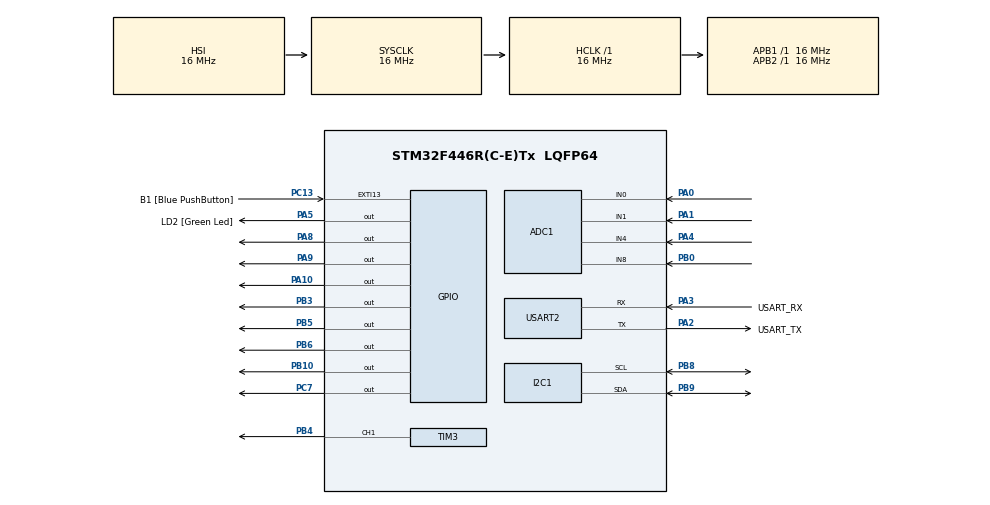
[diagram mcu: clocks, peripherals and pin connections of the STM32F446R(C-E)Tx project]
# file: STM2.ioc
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ADC1.Channel-0\#ChannelRegularConversion=ADC_CHANNEL_0
ADC1.Channel-1\#ChannelInjectedConversion=ADC_CHANNEL_0
ADC1.ClockPrescaler=ADC_CLOCK_SYNC_PCLK_DIV4
ADC1.InjNumberOfConversion=1
ADC1.InjectedOffset-1\#ChannelInjectedConversion=0
ADC1.InjectedRank-1\#ChannelInjectedConversion=1
ADC1.NbrOfConversionFlag=1
ADC1.Rank-0\#ChannelRegularConversion=1
ADC1.SamplingTime-0\#ChannelRegularConversion=ADC_SAMPLETIME_480CYCLES
ADC1.SamplingTime-1\#ChannelInjectedConversion=ADC_SAMPLETIME_3CYCLES
ADC1.master=1
Dma.Request0=TIM3_CH1/TRIG
Dma.TIM3_CH1/TRIG.0.Direction=DMA_MEMORY_TO_PERIPH
Dma.TIM3_CH1/TRIG.0.FIFOMode=DMA_FIFOMODE_DISABLE
Dma.TIM3_CH1/TRIG.0.Instance=DMA1_Stream4
Dma.TIM3_CH1/TRIG.0.MemDataAlignment=DMA_MDATAALIGN_HALFWORD
Dma.TIM3_CH1/TRIG.0.MemInc=DMA_MINC_ENABLE
Dma.TIM3_CH1/TRIG.0.Mode=DMA_NORMAL
Dma.TIM3_CH1/TRIG.0.PeriphDataAlignment=DMA_PDATAALIGN_HALFWORD
Dma.TIM3_CH1/TRIG.0.PeriphInc=DMA_PINC_DISABLE
Dma.TIM3_CH1/TRIG.0.Priority=DMA_PRIORITY_HIGH
I2C1.OwnAddress=17
Mcu.Family=STM32F4
Mcu.Name=STM32F446R(C-E)Tx
Mcu.Package=LQFP64
NVIC.DMA1_Stream4_IRQn=true\:0\:0\:false\:false\:true\:false\:true\:true
NVIC.I2C1_ER_IRQn=true\:0\:0\:false\:false\:true\:true\:true\:true
NVIC.I2C1_EV_IRQn=true\:0\:0\:false\:false\:true\:true\:true\:true
NVIC.PriorityGroup=NVIC_PRIORITYGROUP_0
PA0-WKUP.Signal=ADCx_IN0
PA1.Signal=ADCx_IN1
PA10.Signal=GPIO_Output
PA13.GPIO_Label=TMS
PA13.Mode=Serial_Wire
PA13.Signal=SYS_JTMS-SWDIO
PA14.GPIO_Label=TCK
PA14.Mode=Serial_Wire
PA14.Signal=SYS_JTCK-SWCLK
PA2.GPIO_Label=USART_TX
PA2.Mode=Asynchronous
PA2.Signal=USART2_TX
PA3.GPIO_Label=USART_RX
PA3.Mode=Asynchronous
PA3.Signal=USART2_RX
PA4.Signal=ADCx_IN4
PA5.GPIO_Label=LD2 [Green Led]
PA5.Signal=GPIO_Output
PA8.Signal=GPIO_Output
PA9.Signal=GPIO_Output
PB0.Signal=ADCx_IN8
PB10.Signal=GPIO_Output
PB3.Signal=GPIO_Output
PB4.GPIO_Speed=GPIO_SPEED_FREQ_VERY_HIGH
PB4.Signal=S_TIM3_CH1
PB5.Signal=GPIO_Output
PB6.Signal=GPIO_Output
PB8.GPIO_Pu=GPIO_PULLUP
PB8.Mode=I2C
PB8.Signal=I2C1_SCL
PB9.GPIO_Pu=GPIO_PULLUP
PB9.Mode=I2C
PB9.Signal=I2C1_SDA
PC13.GPIO_Label=B1 [Blue PushButton]
PC13.GPIO_ModeDefaultEXTI=GPIO_MODE_IT_FALLING
PC13.Signal=GPXTI13
PC14-OSC32_IN.Signal=RCC_OSC32_IN
PC15-OSC32_OUT.Signal=RCC_OSC32_OUT
PC7.Signal=GPIO_Output
PH0-OSC_IN.Signal=RCC_OSC_IN
PH1-OSC_OUT.Signal=RCC_OSC_OUT
ProjectManager.HeapSize=0x200
ProjectManager.StackSize=0x400
ProjectManager.TargetToolchain=STM32CubeIDE
RCC.AHBFreq_Value=16000000
RCC.APB1Freq_Value=16000000
RCC.APB1TimFreq_Value=16000000
RCC.APB2Freq_Value=16000000
RCC.APB2TimFreq_Value=16000000
RCC.CortexFreq_Value=16000000
RCC.FLatency-AdvancedSettings=FLASH_LATENCY_0
RCC.HCLKFreq_Value=16000000
RCC.HSE_VALUE=8000000
RCC.HSI_VALUE=16000000
RCC.LSE_VALUE=32768
RCC.PLLN=336
RCC.PLLP=RCC_PLLP_DIV4
RCC.SYSCLKFreq_VALUE=16000000
RCC.USBFreq_Value=168000000
RCC.VCOOutputFreq_Value=336000000
SH.ADCx_IN0.0=ADC1_IN0,IN0
SH.ADCx_IN1.0=ADC1_IN1,IN1
SH.ADCx_IN4.0=ADC1_IN4,IN4
SH.ADCx_IN8.0=ADC1_IN8,IN8
SH.S_TIM3_CH1.0=TIM3_CH1,PWM Generation1 CH1
TIM3.Channel-PWM\ Generation1\ CH1=TIM_CHANNEL_1
TIM3.Period=19
USART2.VirtualMode=VM_ASYNC
VP_TIM3_VS_ClockSourceINT.Mode=Internal
board=NUCLEO-F446RE

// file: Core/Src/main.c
/* USER CODE BEGIN Header */
/**
  ******************************************************************************
  * @file           : main.c
  * @brief          : STM2 - LDR (P5-P8) + NeoPixels + I2C + Display 7 Segmentos
  ******************************************************************************
  */
/* USER CODE END Header */
#include "main.h"

/* USER CODE BEGIN Includes */
#include <stdio.h>
#include <string.h>
/* USER CODE END Includes */

/* USER CODE BEGIN PD */
#define NUM_LDR                  4U
#define PRIMER_PARQUEO           5U
#define MUESTRAS_ADC             16U
#define MUESTRAS_CALIBRACION      32U
#define ESPERA_CALIBRACION_MS     3000U
#define PERIODO_REPORTE_MS        300U

#define PORCENTAJE_OCUPADO        60U
#define PORCENTAJE_LIBRE          80U

/* Mapeo de pines para los segmentos del display */
#define SEG_A_PORT   GPIOA
#define SEG_A_PIN    GPIO_PIN_10   /* D2 -> Patita 7 del display */

#define SEG_B_PORT   GPIOB
#define SEG_B_PIN    GPIO_PIN_3    /* D3 -> Patita 6 del display */

#define SEG_C_PORT   GPIOB
#define SEG_C_PIN    GPIO_PIN_5    /* D4 -> Patita 4 del display */

#define SEG_D_PORT   GPIOB
#define SEG_D_PIN    GPIO_PIN_10   /* D6 -> Patita 2 del display */

#define SEG_E_PORT   GPIOA
#define SEG_E_PIN    GPIO_PIN_8    /* D7 -> Patita 1 del display */

#define SEG_F_PORT   GPIOA
#define SEG_F_PIN    GPIO_PIN_9    /* D8 -> Patita 9 del display */

#define SEG_G_PORT   GPIOC
#define SEG_G_PIN    GPIO_PIN_7    /* D9 -> Patita 10 del display */

#define SEG_DP_PORT  GPIOB
#define SEG_DP_PIN   GPIO_PIN_6    /* D10 -> Patita 5 del display (opcional) */
/* USER CODE END PD */

ADC_HandleTypeDef hadc1;
I2C_HandleTypeDef hi2c1;
TIM_HandleTypeDef htim3;
DMA_HandleTypeDef hdma_tim3_ch1_trig;
UART_HandleTypeDef huart2;

/* USER CODE BEGIN PV */
static const uint32_t canales[NUM_LDR] = {
    ADC_CHANNEL_0,
    ADC_CHANNEL_1,
    ADC_CHANNEL_4,
    ADC_CHANNEL_8
};

static uint16_t lectura[NUM_LDR] = {0};
static uint16_t referencia[NUM_LDR] = {0};
static uint16_t umbral_ocupado[NUM_LDR] = {0};
static uint16_t umbral_libre[NUM_LDR] = {0};
static uint8_t ocupado[NUM_LDR] = {0};
static uint8_t calibrado = 0U;

static uint8_t estado_local = 0U;
static char mensaje[192];

/* NeoPixels WS2812B */
static uint16_t pwm_buffer[736] __attribute__((aligned(4)));
static volatile uint8_t dma_terminado = 0U;
static volatile uint8_t dma_error = 0U;
static uint8_t neo_habilitado = 0U;
static uint8_t lectura_valida[NUM_LDR] = {0};

/* I2C esclavo */
static volatile uint8_t i2c_local = 0xFFU;
static uint8_t i2c_tx = 0U;
static uint8_t i2c_rx = 0U;
static volatile uint8_t global_recibido = 0U;
static volatile uint8_t global_disponible = 0U;
static volatile uint32_t global_tick = 0U;
static volatile uint32_t i2c_lecturas = 0U;
static volatile uint32_t i2c_escrituras = 0U;
static volatile uint32_t i2c_errores = 0U;
static volatile uint32_t i2c_ultimo_error = 0U;
static volatile uint8_t i2c_recuperar = 0U;
static uint32_t i2c_ultimo_reintento = 0U;

static uint8_t espacios_libres_global = 0U;
static uint8_t global_vigente = 0U;

/* Matriz de verdad para catodo comun (1 = segmento encendido)
 * Columnas: { a, b, c, d, e, f, g }
 */
static const uint8_t digitos_7seg[10][7] = {
    {1, 1, 1, 1, 1, 1, 0}, /* 0 */
    {0, 1, 1, 0, 0, 0, 0}, /* 1 */
    {1, 1, 0, 1, 1, 0, 1}, /* 2 */
    {1, 1, 1, 1, 0, 0, 1}, /* 3 */
    {0, 1, 1, 0, 0, 1, 1}, /* 4 */
    {1, 0, 1, 1, 0, 1, 1}, /* 5 */
    {1, 0, 1, 1, 1, 1, 1}, /* 6 */
    {1, 1, 1, 0, 0, 0, 0}, /* 7 */
    {1, 1, 1, 1, 1, 1, 1}, /* 8 */
    {1, 1, 1, 1, 0, 1, 1}  /* 9 */
};
/* USER CODE END PV */

void SystemClock_Config(void);
static void MX_GPIO_Init(void);
static void MX_DMA_Init(void);
static void MX_ADC1_Init(void);
static void MX_USART2_UART_Init(void);
static void MX_TIM3_Init(void);
static void MX_I2C1_Init(void);
/* USER CODE BEGIN PFP */
static void Serial_Enviar(const char *texto);
static HAL_StatusTypeDef LDR_Leer(uint32_t canal, uint16_t *valor);
static HAL_StatusTypeDef LDR_Calibrar(void);
static void LDR_ActualizarEstados(void);
static void Display_Mostrar(uint8_t valor);
static void Display_TestInicial(void);
/* USER CODE END PFP */

/* USER CODE BEGIN 0 */
static void Serial_Enviar(const char *texto)
{
    HAL_UART_Transmit(&huart2, (uint8_t *)texto, (uint16_t)strlen(texto), 200U);
}

static HAL_StatusTypeDef LDR_Leer(uint32_t canal, uint16_t *valor)
{
    ADC_ChannelConfTypeDef config = {0};
    uint32_t suma = 0U;
    config.Channel = canal;
    config.Rank = 1;
    config.SamplingTime = ADC_SAMPLETIME_480CYCLES;

    if (HAL_ADC_ConfigChannel(&hadc1, &config) != HAL_OK)
    {
        return HAL_ERROR;
    }

    for (uint32_t n = 0U; n <= MUESTRAS_ADC; n++)
    {
        if (HAL_ADC_Start(&hadc1) != HAL_OK)
        {
            HAL_ADC_Stop(&hadc1);
            return HAL_ERROR;
        }
        if (HAL_ADC_PollForConversion(&hadc1, 20U) != HAL_OK)
        {
            HAL_ADC_Stop(&hadc1);
            return HAL_ERROR;
        }
        uint32_t muestra = HAL_ADC_GetValue(&hadc1);
        if (HAL_ADC_Stop(&hadc1) != HAL_OK)
        {
            return HAL_ERROR;
        }
        if (n > 0U)
        {
            suma += muestra;
        }
    }
    *valor = (uint16_t)(suma / MUESTRAS_ADC);
    return HAL_OK;
}

static HAL_StatusTypeDef LDR_Calibrar(void)
{
    uint32_t suma[NUM_LDR] = {0};
    uint16_t muestra = 0U;
    uint8_t referencia_invalida = 0U;

    Serial_Enviar("\r\nCALIBRACION STM2\r\n"
                  "Deja descubiertos los LDR de P5, P6, P7 y P8.\r\n"
                  "La medicion comienza en 3 segundos.\r\n");
    HAL_Delay(ESPERA_CALIBRACION_MS);
    Serial_Enviar("Midiendo... manten descubiertos los LDR.\r\n");

    for (uint32_t n = 0U; n < MUESTRAS_CALIBRACION; n++)
    {
        for (uint8_t i = 0U; i < NUM_LDR; i++)
        {
            if (LDR_Leer(canales[i], &muestra) != HAL_OK)
            {
                Serial_Enviar("ERROR: fallo del ADC al calibrar.\r\n");
                return HAL_ERROR;
            }
            suma[i] += muestra;
        }
        HAL_Delay(10U);
    }

    for (uint8_t i = 0U; i < NUM_LDR; i++)
    {
        referencia[i] = (uint16_t)(suma[i] / MUESTRAS_CALIBRACION);
        umbral_ocupado[i] = (uint16_t)(((uint32_t)referencia[i] * PORCENTAJE_OCUPADO) / 100U);
        umbral_libre[i] = (uint16_t)(((uint32_t)referencia[i] * PORCENTAJE_LIBRE) / 100U);
        ocupado[i] = 0U;

        snprintf(mensaje, sizeof(mensaje),
                 "P%u | Referencia=%u | Ocupado<=%u | Libre>=%u\r\n",
                 (unsigned int)(PRIMER_PARQUEO + i),
                 (unsigned int)referencia[i],
                 (unsigned int)umbral_ocupado[i],
                 (unsigned int)umbral_libre[i]);
        Serial_Enviar(mensaje);

        if ((umbral_ocupado[i] == 0U) || (umbral_libre[i] <= umbral_ocupado[i]))
        {
            referencia_invalida = 1U;
        }
    }

    if (referencia_invalida)
    {
        Serial_Enviar("\r\nReferencia insuficiente. Revisa luz y reinicia.\r\n");
        return HAL_ERROR;
    }

    estado_local = 0U;
    Serial_Enviar("\r\nCalibracion terminada correctamente.\r\n\r\n");
    return HAL_OK;
}

static void LDR_ActualizarEstados(void)
{
    estado_local = 0U;
    for (uint8_t i = 0U; i < NUM_LDR; i++)
    {
        if (lectura_valida[i] && lectura[i] <= umbral_ocupado[i])
        {
            ocupado[i] = 1U;
        }
        else if (lectura_valida[i] && lectura[i] >= umbral_libre[i])
        {
            ocupado[i] = 0U;
        }
        estado_local |= (uint8_t)(ocupado[i] << (3U - i));
    }
}

static void NeoPixel_Preparar(uint8_t mode)
{
    memset(pwm_buffer, 0, sizeof(pwm_buffer));
    uint32_t posicion = 320U;
    for (uint8_t i = 0U; i < NUM_LDR; i++)
    {
        uint32_t grb = 0U;
        if ((mode == 2U) || ((mode == 1U) && !lectura_valida[i]))
        {
            grb = 32U;
        }
        else if (mode == 1U)
        {
            grb = ocupado[i] ? (32UL << 8) : (32UL << 16);
        }

        for (int32_t bit = 23; bit >= 0; bit--)
        {
            pwm_buffer[posicion++] = (grb & (1UL << bit)) ? 13U : 6U;
        }
    }
}

static void NeoPixel_Pin(uint8_t pwm)
{
    GPIO_InitTypeDef gpio = {0};
    __HAL_RCC_GPIOB_CLK_ENABLE();
    HAL_GPIO_WritePin(GPIOB, GPIO_PIN_4, GPIO_PIN_RESET);
    gpio.Pin = GPIO_PIN_4;
    gpio.Mode = pwm ? GPIO_MODE_AF_PP : GPIO_MODE_OUTPUT_PP;
    gpio.Pull = GPIO_NOPULL;
    gpio.Speed = GPIO_SPEED_FREQ_HIGH;
    gpio.Alternate = GPIO_AF2_TIM3;
    HAL_GPIO_Init(GPIOB, &gpio);
}

static uint8_t NeoPixel_VerificarDMA(void)
{
    DMA_HandleTypeDef *dma = htim3.hdma[TIM_DMA_ID_CC1];
    if ((dma == NULL) || (dma->Instance != DMA1_Stream4)) return 0U;
    return (dma->Init.Channel == DMA_CHANNEL_5) &&
           (dma->Init.Direction == DMA_MEMORY_TO_PERIPH) &&
           (dma->Init.PeriphInc == DMA_PINC_DISABLE) &&
           (dma->Init.MemInc == DMA_MINC_ENABLE) &&
           (dma->Init.PeriphDataAlignment == DMA_PDATAALIGN_HALFWORD) &&
           (dma->Init.MemDataAlignment == DMA_MDATAALIGN_HALFWORD) &&
           (dma->Init.Mode == DMA_NORMAL);
}

static HAL_StatusTypeDef NeoPixel_Enviar(uint8_t mode)
{
    if (!neo_habilitado) return HAL_ERROR;
    NeoPixel_Preparar(mode);
    dma_terminado = 0U;
    dma_error = 0U;
    __HAL_TIM_SET_COMPARE(&htim3, TIM_CHANNEL_1, 0U);
    __HAL_TIM_SET_COUNTER(&htim3, 0U);
    htim3.Instance->EGR = TIM_EGR_UG;
    __HAL_TIM_CLEAR_FLAG(&htim3, TIM_FLAG_UPDATE | TIM_FLAG_CC1);
    NeoPixel_Pin(1U);
    HAL_StatusTypeDef resultado = HAL_TIM_PWM_Start_DMA(
        &htim3, TIM_CHANNEL_1, (uint32_t *)pwm_buffer, 736U);
    if (resultado == HAL_OK)
    {
        uint32_t inicio = HAL_GetTick();
        while (!dma_terminado && !dma_error)
        {
            if ((HAL_GetTick() - inicio) >= 100U)
            {
                resultado = HAL_TIMEOUT;
                break;
            }
        }
        if (dma_error) resultado = HAL_ERROR;
    }
    HAL_TIM_PWM_Stop_DMA(&htim3, TIM_CHANNEL_1);
    NeoPixel_Pin(0U);
    HAL_Delay(1U);
    if (resultado != HAL_OK)
    {
        neo_habilitado = 0U;
        Serial_Enviar("ERROR NeoPixel/DMA: envio suspendido hasta RESET.\r\n");
    }
    return resultado;
}

static void I2C_Prioridades(void)
{
    HAL_NVIC_SetPriorityGrouping(NVIC_PRIORITYGROUP_4);
    HAL_NVIC_SetPriority(I2C1_EV_IRQn, 0U, 0U);
    HAL_NVIC_SetPriority(I2C1_ER_IRQn, 0U, 0U);
    HAL_NVIC_SetPriority(DMA1_Stream4_IRQn, 1U, 0U);
    HAL_NVIC_SetPriority(SysTick_IRQn, 15U, 0U);
    HAL_NVIC_EnableIRQ(I2C1_EV_IRQn);
    HAL_NVIC_EnableIRQ(I2C1_ER_IRQn);
}

static void I2C_Escuchar(void)
{
    if (HAL_I2C_EnableListen_IT(&hi2c1) != HAL_OK)
    {
        i2c_recuperar = 1U;
    }
}

static void I2C_Servicio(void)
{
    if (!i2c_recuperar) return;
    uint32_t ahora = HAL_GetTick();
    if ((ahora - i2c_ultimo_reintento) < 250U) return;
    i2c_ultimo_reintento = ahora;
    HAL_NVIC_DisableIRQ(I2C1_EV_IRQn);
    HAL_NVIC_DisableIRQ(I2C1_ER_IRQn);
    i2c_recuperar = 0U;
    HAL_StatusTypeDef resultado = HAL_I2C_DeInit(&hi2c1);
    if (resultado == HAL_OK) resultado = HAL_I2C_Init(&hi2c1);
    HAL_NVIC_ClearPendingIRQ(I2C1_EV_IRQn);
    HAL_NVIC_ClearPendingIRQ(I2C1_ER_IRQn);
    I2C_Prioridades();
    if (resultado == HAL_OK) I2C_Escuchar();
    else i2c_recuperar = 1U;
}

static uint8_t ContarLibres(uint8_t dato)
{
    uint8_t libres = 8U;
    for (uint8_t i = 0U; i < 8U; i++)
    {
        libres -= (dato >> i) & 1U;
    }
    return libres;
}

/* Control del display de 7 segmentos */
static void Display_Mostrar(uint8_t valor)
{
    if (valor <= 8U)
    {
        HAL_GPIO_WritePin(SEG_A_PORT, SEG_A_PIN, digitos_7seg[valor][0] ? GPIO_PIN_SET : GPIO_PIN_RESET);
        HAL_GPIO_WritePin(SEG_B_PORT, SEG_B_PIN, digitos_7seg[valor][1] ? GPIO_PIN_SET : GPIO_PIN_RESET);
        HAL_GPIO_WritePin(SEG_C_PORT, SEG_C_PIN, digitos_7seg[valor][2] ? GPIO_PIN_SET : GPIO_PIN_RESET);
        HAL_GPIO_WritePin(SEG_D_PORT, SEG_D_PIN, digitos_7seg[valor][3] ? GPIO_PIN_SET : GPIO_PIN_RESET);
        HAL_GPIO_WritePin(SEG_E_PORT, SEG_E_PIN, digitos_7seg[valor][4] ? GPIO_PIN_SET : GPIO_PIN_RESET);
        HAL_GPIO_WritePin(SEG_F_PORT, SEG_F_PIN, digitos_7seg[valor][5] ? GPIO_PIN_SET : GPIO_PIN_RESET);
        HAL_GPIO_WritePin(SEG_G_PORT, SEG_G_PIN, digitos_7seg[valor][6] ? GPIO_PIN_SET : GPIO_PIN_RESET);
        HAL_GPIO_WritePin(SEG_DP_PORT, SEG_DP_PIN, GPIO_PIN_RESET);
    }
    else
    {
        /* Muestra un guion central (-) cuando no hay dato valido o vigente */
        HAL_GPIO_WritePin(SEG_A_PORT, SEG_A_PIN, GPIO_PIN_RESET);
        HAL_GPIO_WritePin(SEG_B_PORT, SEG_B_PIN, GPIO_PIN_RESET);
        HAL_GPIO_WritePin(SEG_C_PORT, SEG_C_PIN, GPIO_PIN_RESET);
        HAL_GPIO_WritePin(SEG_D_PORT, SEG_D_PIN, GPIO_PIN_RESET);
        HAL_GPIO_WritePin(SEG_E_PORT, SEG_E_PIN, GPIO_PIN_RESET);
        HAL_GPIO_WritePin(SEG_F_PORT, SEG_F_PIN, GPIO_PIN_RESET);
        HAL_GPIO_WritePin(SEG_G_PORT, SEG_G_PIN, GPIO_PIN_SET);
        HAL_GPIO_WritePin(SEG_DP_PORT, SEG_DP_PIN, GPIO_PIN_RESET);
    }
}

/* Secuencia inicial de prueba: enciende todos los segmentos brevemente */
static void Display_TestInicial(void)
{
    Display_Mostrar(8U);
    HAL_Delay(700U);
    Display_Mostrar(0xFFU);
    HAL_Delay(300U);
}

static void I2C_Reporte(void)
{
    uint32_t primask = __get_PRIMASK();
    __disable_irq();
    uint8_t dato = global_recibido;
    uint8_t disponible = global_disponible;
    uint32_t fecha = global_tick;
    uint32_t lecturas = i2c_lecturas;
    uint32_t escrituras = i2c_escrituras;
    uint32_t errores = i2c_errores;
    uint32_t codigo = i2c_ultimo_error;
    __set_PRIMASK(primask);

    uint32_t edad = HAL_GetTick() - fecha;
    global_vigente = disponible && (edad <= 2000U);

    if (global_vigente)
    {
        espacios_libres_global = ContarLibres(dato);
        char bits[9];
        for (uint8_t i = 0U; i < 8U; i++)
        {
            bits[i] = ((dato >> (7U - i)) & 1U) ? '1' : '0';
        }
        bits[8] = '\0';
        snprintf(mensaje, sizeof(mensaje),
                 "ESP32 -> GLOBAL P1-P8: %s | Libres: %u | Edad: %lu ms\r\n",
                 bits, (unsigned)espacios_libres_global, (unsigned long)edad);
        Serial_Enviar(mensaje);
    }
    else
    {
        Serial_Enviar(disponible ?
          "ESP32: dato global VENCIDO. Libres no disponibles; control local activo.\r\n" :
          "ESP32: sin estado global recibido. Control local activo.\r\n");
    }

    snprintf(mensaje, sizeof(mensaje),
             "I2C: lecturas ESP=%lu | globales RX=%lu | errores=%lu | ultimo=0x%08lX\r\n",
             (unsigned long)lecturas, (unsigned long)escrituras,
             (unsigned long)errores, (unsigned long)codigo);
    Serial_Enviar(mensaje);
}
/* USER CODE END 0 */

int main(void)
{
  /* MCU Configuration--------------------------------------------------------*/
  HAL_Init();
  SystemClock_Config();

  /* Initialize all configured peripherals */
  MX_GPIO_Init();
  MX_DMA_Init();
  MX_ADC1_Init();
  MX_USART2_UART_Init();
  MX_TIM3_Init();
  MX_I2C1_Init();

  /* USER CODE BEGIN 2 */
    I2C_Prioridades();
    I2C_Escuchar();

    /* Prueba fisica rapida del display al encender */
    Display_TestInicial();

    Serial_Enviar("\r\nSTM2 - VERSION I2C + LDR + NEOPIXEL + DISPLAY - direccion 0x11\r\n");
    NeoPixel_Pin(0U);
    HAL_Delay(10U);

    neo_habilitado = NeoPixel_VerificarDMA();
    if (!neo_habilitado)
    {
        Serial_Enviar("ERROR configuracion DMA: Stream4/Channel5, Normal, Half Word.\r\n");
    }
    (void)NeoPixel_Enviar(0U);

    if (LDR_Calibrar() == HAL_OK)
    {
        calibrado = 1U;
    }
    else
    {
        Serial_Enviar("Calibracion fallida: revisar y reiniciar con LDR descubiertos.\r\n");
    }
  /* USER CODE END 2 */

  /* Infinite loop */
  /* USER CODE BEGIN WHILE */
  while (1)
  {
      I2C_Servicio();
      uint8_t todas_validas = 1U;

      for (uint8_t i = 0U; i < NUM_LDR; i++)
      {
          lectura_valida[i] = (LDR_Leer(canales[i], &lectura[i]) == HAL_OK);
          if (!lectura_valida[i]) todas_validas = 0U;
      }

      if (calibrado)
      {
          LDR_ActualizarEstados();
          i2c_local = todas_validas ? estado_local : 0xFFU;
          (void)NeoPixel_Enviar(1U);
      }
      else
      {
          i2c_local = 0xFFU;
          (void)NeoPixel_Enviar(2U);
      }

      for (uint8_t i = 0U; i < NUM_LDR; i++)
      {
          if (!lectura_valida[i])
          {
              snprintf(mensaje, sizeof(mensaje), "P%u | ERROR ADC | AZUL\r\n",
                       (unsigned)(PRIMER_PARQUEO + i));
          }
          else
          {
              snprintf(mensaje, sizeof(mensaje), "P%u | ADC=%4u | %s\r\n",
                       (unsigned)(PRIMER_PARQUEO + i), (unsigned)lectura[i],
                       !calibrado ? "SIN CALIBRAR - AZUL" :
                       ocupado[i] ? "OCUPADO - ROJO" : "LIBRE - VERDE");
          }
          Serial_Enviar(mensaje);
      }

      if (calibrado && todas_validas)
      {
          snprintf(mensaje, sizeof(mensaje),
                   "Estado local: %u%u%u%u | Byte: 0x%02X\r\n",
                   (unsigned)ocupado[0], (unsigned)ocupado[1],
                   (unsigned)ocupado[2], (unsigned)ocupado[3],
                   (unsigned)estado_local);
          Serial_Enviar(mensaje);
      }
      else
      {
          Serial_Enviar("Estado local NO VALIDO para comunicar ocupacion.\r\n");
      }

      I2C_Reporte();

      /* Actualiza el display segun la cantidad de espacios libres global */
      if (global_vigente)
      {
          Display_Mostrar(espacios_libres_global);
      }
      else
      {
          Display_Mostrar(0xFFU);
      }

      uint32_t pausa = HAL_GetTick();
      while ((HAL_GetTick() - pausa) < PERIODO_REPORTE_MS)
      {
          I2C_Servicio();
          HAL_Delay(1U);
      }
    /* USER CODE END WHILE */
  }
}

void SystemClock_Config(void)
{
  RCC_OscInitTypeDef RCC_OscInitStruct = {0};
  RCC_ClkInitTypeDef RCC_ClkInitStruct = {0};

  __HAL_RCC_PWR_CLK_ENABLE();
  __HAL_PWR_VOLTAGESCALING_CONFIG(PWR_REGULATOR_VOLTAGE_SCALE3);

  RCC_OscInitStruct.OscillatorType = RCC_OSCILLATORTYPE_HSI;
  RCC_OscInitStruct.HSIState = RCC_HSI_ON;
  RCC_OscInitStruct.HSICalibrationValue = RCC_HSICALIBRATION_DEFAULT;
  RCC_OscInitStruct.PLL.PLLState = RCC_PLL_NONE;
  if (HAL_RCC_OscConfig(&RCC_OscInitStruct) != HAL_OK)
  {
    Error_Handler();
  }

  RCC_ClkInitStruct.ClockType = RCC_CLOCKTYPE_HCLK|RCC_CLOCKTYPE_SYSCLK
                              |RCC_CLOCKTYPE_PCLK1|RCC_CLOCKTYPE_PCLK2;
  RCC_ClkInitStruct.SYSCLKSource = RCC_SYSCLKSOURCE_HSI;
  RCC_ClkInitStruct.AHBCLKDivider = RCC_SYSCLK_DIV1;
  RCC_ClkInitStruct.APB1CLKDivider = RCC_HCLK_DIV1;
  RCC_ClkInitStruct.APB2CLKDivider = RCC_HCLK_DIV1;

  if (HAL_RCC_ClockConfig(&RCC_ClkInitStruct, FLASH_LATENCY_0) != HAL_OK)
  {
    Error_Handler();
  }
}

static void MX_ADC1_Init(void)
{
  __HAL_RCC_ADC1_CLK_ENABLE();
  ADC_ChannelConfTypeDef sConfig = {0};

  hadc1.Instance = ADC1;
  hadc1.Init.ClockPrescaler = ADC_CLOCK_SYNC_PCLK_DIV4;
  hadc1.Init.Resolution = ADC_RESOLUTION_12B;
  hadc1.Init.ScanConvMode = DISABLE;
  hadc1.Init.ContinuousConvMode = DISABLE;
  hadc1.Init.DiscontinuousConvMode = DISABLE;
  hadc1.Init.ExternalTrigConvEdge = ADC_EXTERNALTRIGCONVEDGE_NONE;
  hadc1.Init.ExternalTrigConv = ADC_SOFTWARE_START;
  hadc1.Init.DataAlign = ADC_DATAALIGN_RIGHT;
  hadc1.Init.NbrOfConversion = 1;
  hadc1.Init.DMAContinuousRequests = DISABLE;
  hadc1.Init.EOCSelection = ADC_EOC_SINGLE_CONV;
  if (HAL_ADC_Init(&hadc1) != HAL_OK)
  {
    Error_Handler();
  }

  sConfig.Channel = ADC_CHANNEL_0;
  sConfig.Rank = 1;
  sConfig.SamplingTime = ADC_SAMPLETIME_480CYCLES;
  if (HAL_ADC_ConfigChannel(&hadc1, &sConfig) != HAL_OK)
  {
    Error_Handler();
  }

  GPIO_InitTypeDef gpio_ldr = {0};
  __HAL_RCC_GPIOA_CLK_ENABLE();
  __HAL_RCC_GPIOB_CLK_ENABLE();
  gpio_ldr.Pin = GPIO_PIN_0 | GPIO_PIN_1 | GPIO_PIN_4;
  gpio_ldr.Mode = GPIO_MODE_ANALOG;
  gpio_ldr.Pull = GPIO_NOPULL;
  HAL_GPIO_Init(GPIOA, &gpio_ldr);
  gpio_ldr.Pin = GPIO_PIN_0;
  HAL_GPIO_Init(GPIOB, &gpio_ldr);
}

static void MX_I2C1_Init(void)
{
  hi2c1.Instance = I2C1;
  hi2c1.Init.ClockSpeed = 100000;
  hi2c1.Init.DutyCycle = I2C_DUTYCYCLE_2;
  hi2c1.Init.OwnAddress1 = 34;
  hi2c1.Init.AddressingMode = I2C_ADDRESSINGMODE_7BIT;
  hi2c1.Init.DualAddressMode = I2C_DUALADDRESS_DISABLE;
  hi2c1.Init.OwnAddress2 = 0;
  hi2c1.Init.GeneralCallMode = I2C_GENERALCALL_DISABLE;
  hi2c1.Init.NoStretchMode = I2C_NOSTRETCH_DISABLE;
  if (HAL_I2C_Init(&hi2c1) != HAL_OK)
  {
    Error_Handler();
  }

  hi2c1.Init.OwnAddress1 = (0x11U << 1);
  if (HAL_I2C_Init(&hi2c1) != HAL_OK) Error_Handler();
}

static void MX_TIM3_Init(void)
{
  TIM_ClockConfigTypeDef sClockSourceConfig = {0};
  TIM_MasterConfigTypeDef sMasterConfig = {0};
  TIM_OC_InitTypeDef sConfigOC = {0};

  htim3.Instance = TIM3;
  htim3.Init.Prescaler = 0;
  htim3.Init.CounterMode = TIM_COUNTERMODE_UP;
  htim3.Init.Period = 19;
  htim3.Init.ClockDivision = TIM_CLOCKDIVISION_DIV1;
  htim3.Init.AutoReloadPreload = TIM_AUTORELOAD_PRELOAD_DISABLE;
  if (HAL_TIM_Base_Init(&htim3) != HAL_OK)
  {
    Error_Handler();
  }
  sClockSourceConfig.ClockSource = TIM_CLOCKSOURCE_INTERNAL;
  if (HAL_TIM_ConfigClockSource(&htim3, &sClockSourceConfig) != HAL_OK)
  {
    Error_Handler();
  }
  if (HAL_TIM_PWM_Init(&htim3) != HAL_OK)
  {
    Error_Handler();
  }
  sMasterConfig.MasterOutputTrigger = TIM_TRGO_RESET;
  sMasterConfig.MasterSlaveMode = TIM_MASTERSLAVEMODE_DISABLE;
  if (HAL_TIMEx_MasterConfigSynchronization(&htim3, &sMasterConfig) != HAL_OK)
  {
    Error_Handler();
  }
  sConfigOC.OCMode = TIM_OCMODE_PWM1;
  sConfigOC.Pulse = 0;
  sConfigOC.OCPolarity = TIM_OCPOLARITY_HIGH;
  sConfigOC.OCFastMode = TIM_OCFAST_DISABLE;
  if (HAL_TIM_PWM_ConfigChannel(&htim3, &sConfigOC, TIM_CHANNEL_1) != HAL_OK)
  {
    Error_Handler();
  }

  __HAL_TIM_ENABLE_OCxPRELOAD(&htim3, TIM_CHANNEL_1);
  HAL_TIM_MspPostInit(&htim3);
}

static void MX_USART2_UART_Init(void)
{
  huart2.Instance = USART2;
  huart2.Init.BaudRate = 115200;
  huart2.Init.WordLength = UART_WORDLENGTH_8B;
  huart2.Init.StopBits = UART_STOPBITS_1;
  huart2.Init.Parity = UART_PARITY_NONE;
  huart2.Init.Mode = UART_MODE_TX_RX;
  huart2.Init.HwFlowCtl = UART_HWCONTROL_NONE;
  huart2.Init.OverSampling = UART_OVERSAMPLING_16;
  if (HAL_UART_Init(&huart2) != HAL_OK)
  {
    Error_Handler();
  }
}

static void MX_DMA_Init(void)
{
  __HAL_RCC_DMA1_CLK_ENABLE();
  HAL_NVIC_SetPriority(DMA1_Stream4_IRQn, 0, 0);
  HAL_NVIC_EnableIRQ(DMA1_Stream4_IRQn);
}

static void MX_GPIO_Init(void)
{
  GPIO_InitTypeDef GPIO_InitStruct = {0};

  /* GPIO Ports Clock Enable */
  __HAL_RCC_GPIOC_CLK_ENABLE();
  __HAL_RCC_GPIOH_CLK_ENABLE();
  __HAL_RCC_GPIOA_CLK_ENABLE();
  __HAL_RCC_GPIOB_CLK_ENABLE();

  HAL_GPIO_WritePin(GPIOA, LD2_Pin|GPIO_PIN_8|GPIO_PIN_9|GPIO_PIN_10, GPIO_PIN_RESET);
  HAL_GPIO_WritePin(GPIOB, GPIO_PIN_10|GPIO_PIN_3|GPIO_PIN_5|GPIO_PIN_6, GPIO_PIN_RESET);
  HAL_GPIO_WritePin(GPIOC, GPIO_PIN_7, GPIO_PIN_RESET);

  GPIO_InitStruct.Pin = B1_Pin;
  GPIO_InitStruct.Mode = GPIO_MODE_IT_FALLING;
  GPIO_InitStruct.Pull = GPIO_NOPULL;
  HAL_GPIO_Init(B1_GPIO_Port, &GPIO_InitStruct);

  /* Pines configurados para los segmentos del display */
  GPIO_InitStruct.Pin = LD2_Pin|GPIO_PIN_8|GPIO_PIN_9|GPIO_PIN_10;
  GPIO_InitStruct.Mode = GPIO_MODE_OUTPUT_PP;
  GPIO_InitStruct.Pull = GPIO_NOPULL;
  GPIO_InitStruct.Speed = GPIO_SPEED_FREQ_LOW;
  HAL_GPIO_Init(GPIOA, &GPIO_InitStruct);

  GPIO_InitStruct.Pin = GPIO_PIN_10|GPIO_PIN_3|GPIO_PIN_5|GPIO_PIN_6;
  GPIO_InitStruct.Mode = GPIO_MODE_OUTPUT_PP;
  GPIO_InitStruct.Pull = GPIO_NOPULL;
  GPIO_InitStruct.Speed = GPIO_SPEED_FREQ_LOW;
  HAL_GPIO_Init(GPIOB, &GPIO_InitStruct);

  GPIO_InitStruct.Pin = GPIO_PIN_7;
  GPIO_InitStruct.Mode = GPIO_MODE_OUTPUT_PP;
  GPIO_InitStruct.Pull = GPIO_NOPULL;
  GPIO_InitStruct.Speed = GPIO_SPEED_FREQ_LOW;
  HAL_GPIO_Init(GPIOC, &GPIO_InitStruct);
}

/* USER CODE BEGIN 4 */
void HAL_I2C_AddrCallback(I2C_HandleTypeDef *hi2c, uint8_t direccion, uint16_t direccion_detectada)
{
    (void)direccion_detectada;
    if (hi2c->Instance != I2C1) return;
    HAL_StatusTypeDef resultado;
    if (direccion == I2C_DIRECTION_TRANSMIT)
    {
        resultado = HAL_I2C_Slave_Seq_Receive_IT(hi2c, &i2c_rx, 1U, I2C_FIRST_AND_LAST_FRAME);
    }
    else
    {
        i2c_tx = i2c_local;
        resultado = HAL_I2C_Slave_Seq_Transmit_IT(hi2c, &i2c_tx, 1U, I2C_FIRST_AND_LAST_FRAME);
    }
    if (resultado != HAL_OK) i2c_recuperar = 1U;
}

void HAL_I2C_SlaveTxCpltCallback(I2C_HandleTypeDef *hi2c)
{
    if (hi2c->Instance == I2C1) i2c_lecturas++;
}

void HAL_I2C_SlaveRxCpltCallback(I2C_HandleTypeDef *hi2c)
{
    if (hi2c->Instance != I2C1) return;
    global_recibido = i2c_rx;
    global_tick = HAL_GetTick();
    global_disponible = 1U;
    i2c_escrituras++;
}

void HAL_I2C_ListenCpltCallback(I2C_HandleTypeDef *hi2c)
{
    if (hi2c->Instance != I2C1) return;
    if (HAL_I2C_EnableListen_IT(hi2c) != HAL_OK)
    {
        i2c_recuperar = 1U;
    }
}

void HAL_I2C_ErrorCallback(I2C_HandleTypeDef *hi2c)
{
    if (hi2c->Instance != I2C1) return;
    uint32_t error = HAL_I2C_GetError(hi2c);
    if (error != HAL_I2C_ERROR_AF)
    {
        i2c_errores++;
        i2c_ultimo_error = error;
    }
    if (HAL_I2C_GetState(hi2c) == HAL_I2C_STATE_READY)
    {
        if (HAL_I2C_EnableListen_IT(hi2c) != HAL_OK)
            i2c_recuperar = 1U;
    }
    else if ((error != HAL_I2C_ERROR_AF) || (HAL_I2C_GetState(hi2c) != HAL_I2C_STATE_LISTEN))
    {
        i2c_recuperar = 1U;
    }
}

void HAL_TIM_PWM_PulseFinishedCallback(TIM_HandleTypeDef *htim)
{
    if ((htim->Instance == TIM3) && (htim->Channel == HAL_TIM_ACTIVE_CHANNEL_1))
    {
        dma_terminado = 1U;
    }
}

void HAL_TIM_ErrorCallback(TIM_HandleTypeDef *htim)
{
    if (htim->Instance == TIM3) dma_error = 1U;
}
/* USER CODE END 4 */

void Error_Handler(void)
{
    __disable_irq();
    while (1)
    {
    }
}

#ifdef USE_FULL_ASSERT
void assert_failed(uint8_t *file, uint32_t line)
{
  /* USER CODE BEGIN 6 */
    (void)file;
    (void)line;
  /* USER CODE END 6 */
}
#endif /* USE_FULL_ASSERT */
